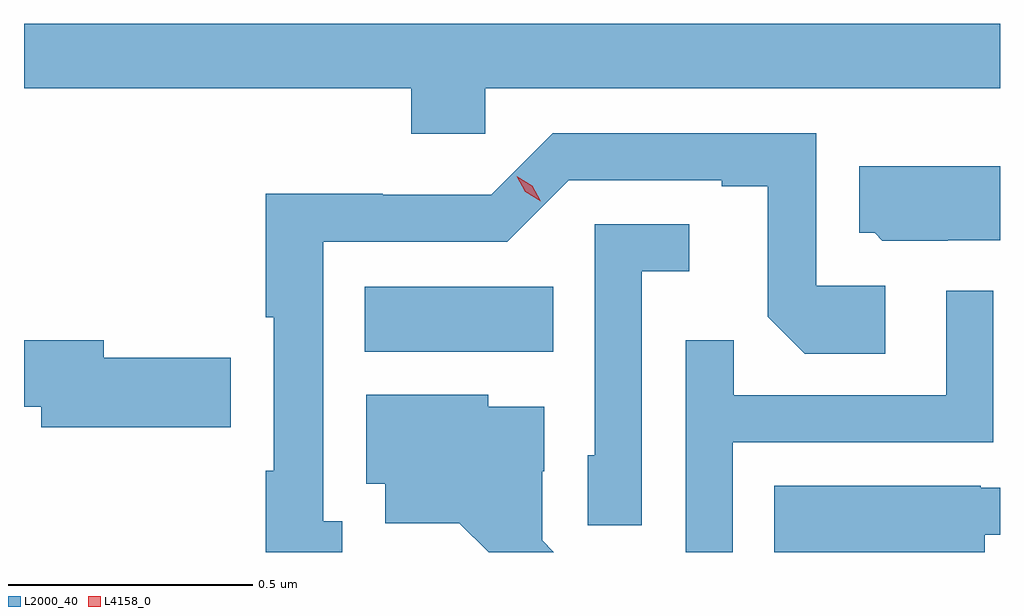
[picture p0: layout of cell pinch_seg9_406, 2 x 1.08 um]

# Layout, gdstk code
import gdstk
lib = gdstk.Library(unit=1e-6, precision=1e-09)
def R(c, l, rs):  # rectangles x0, y0, x1, y1
    for r in rs: c.add(gdstk.rectangle(r[:2], r[2:], *l))
def P(c, l, *ps):  # polygons
    for p in ps: c.add(gdstk.Polygon(p, *l))
L2000_40 = (2000, 40)
L4158_0 = (4158, 0)

pinch_seg9_406 = lib.new_cell('pinch_seg9_406')
R(pinch_seg9_406, L2000_40, [(338.057,1247.828,338.444,1247.962)])
P(pinch_seg9_406, L2000_40, [(338.304,1248.368),(339.359,1248.368),(339.359,1248.5),(337.359,1248.5),(337.359,1248.368),(338.153,1248.368),(338.153,1248.275),(338.304,1248.275)],
  [(338.011,1247.481),(337.972,1247.481),(337.972,1248.054),(338.349,1248.054),(338.475,1248.18),(338.789,1248.18),(338.789,1248.168),(338.883,1248.168),(338.883,1247.9),(338.959,1247.824),(339.124,1247.824),(339.124,1247.964),(338.982,1247.964),(338.982,1248.276),(338.442,1248.276),(338.316,1248.15),(338.094,1248.15),(338.094,1248.152),(337.854,1248.152),(337.854,1247.899),(337.871,1247.899),(337.871,1247.585),(337.854,1247.585),(337.854,1247.418),(338.011,1247.418)],
  [(339.252,1248.057),(339.359,1248.057),(339.359,1248.208),(339.071,1248.208),(339.071,1248.072),(339.102,1248.072),(339.118,1248.056),(339.252,1248.056)],
  [(338.625,1247.993),(338.722,1247.993),(338.722,1248.09),(338.529,1248.09),(338.529,1247.616),(338.514,1247.616),(338.514,1247.473),(338.625,1247.473)],
  [(338.811,1247.643),(339.345,1247.643),(339.345,1247.953),(339.249,1247.953),(339.249,1247.739),(338.813,1247.739),(338.813,1247.852),(338.715,1247.852),(338.715,1247.418),(338.811,1247.418)],
  [(337.783,1247.816),(337.522,1247.816),(337.522,1247.852),(337.359,1247.852),(337.359,1247.716),(337.394,1247.716),(337.394,1247.674),(337.783,1247.674)],
  [(338.421,1247.442),(338.421,1247.584),(338.425,1247.584),(338.425,1247.716),(338.31,1247.716),(338.31,1247.74),(338.06,1247.74),(338.06,1247.558),(338.099,1247.558),(338.099,1247.477),(338.251,1247.477),(338.311,1247.418),(338.445,1247.418)],
  [(339.328,1247.453),(339.359,1247.453),(339.359,1247.55),(339.32,1247.55),(339.32,1247.554),(338.896,1247.554),(338.896,1247.418),(339.328,1247.418)])
P(pinch_seg9_406, L4158_0, [(338.418,1248.137),(338.386,1248.156),(338.369,1248.188),(338.369,1248.188),(338.369,1248.188),(338.401,1248.169),(338.418,1248.137),(338.418,1248.137)])

lib.write_gds('pinch_seg9_406.gds')
